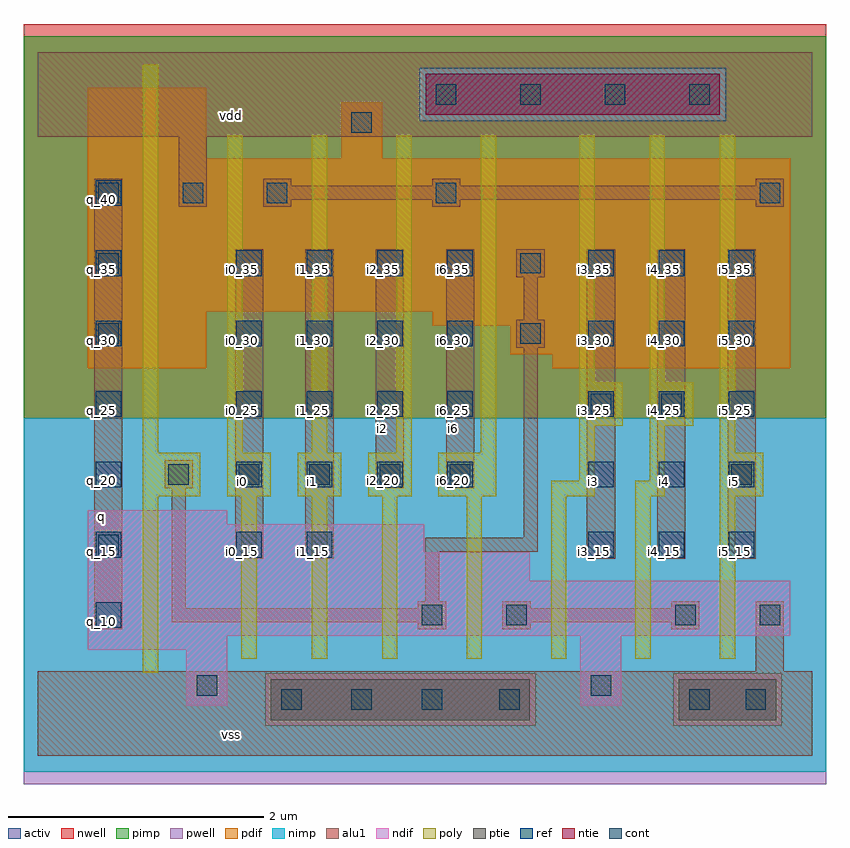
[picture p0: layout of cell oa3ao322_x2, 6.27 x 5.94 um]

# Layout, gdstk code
import gdstk
lib = gdstk.Library(unit=1e-6, precision=2.5e-09)
def R(c, l, rs):  # rectangles x0, y0, x1, y1
    for r in rs: c.add(gdstk.rectangle(r[:2], r[2:], *l))
def A(c, l, x, y, w, h, nx, ny, dx, dy):  # array of equal rectangles
    R(c, l, [(x+i*dx, y+j*dy, x+i*dx+w, y+j*dy+h) for i in range(nx) for j in range(ny)])
ndif = (3, 0)
pdif = (4, 0)
ntie = (5, 0)
ptie = (6, 0)
ref = (24, 0)
cont = (25, 0)
pwell = (41, 0)
nwell = (42, 0)
activ = (43, 0)
pimp = (44, 0)
nimp = (45, 0)
poly = (46, 0)
alu1 = (49, 0)

oa3ao322_x2 = lib.new_cell('oa3ao322_x2')
R(oa3ao322_x2, ndif, [(1.16,0.39,1.48,0.83), (1.16,0.39,1.48,0.83), (4.24,0.39,4.56,0.94), (4.24,0.39,4.56,0.94), (0.39,0.83,1.48,0.94), (0.39,0.83,1.48,0.94), (0.39,0.94,5.88,1.37), (0.39,0.94,5.88,1.37), (0.39,1.37,3.845,1.59), (0.39,1.37,3.845,1.59), (0.39,1.59,3.02,1.81), (0.39,1.59,3.02,1.81), (0.39,1.81,1.48,1.92), (0.39,1.81,1.48,1.92)])
R(oa3ao322_x2, pdif, [(0.39,3.03,1.315,3.47), (0.39,3.03,1.315,3.47), (4.02,3.03,5.88,3.14), (4.02,3.03,5.88,3.14), (3.69,3.14,5.88,3.36), (3.69,3.14,5.88,3.36), (3.085,3.36,5.88,3.47), (3.085,3.36,5.88,3.47), (0.39,3.47,5.88,4.67), (0.39,3.47,5.88,4.67), (0.39,4.67,1.315,5.22), (0.39,4.67,1.315,5.22), (2.37,4.67,2.69,5.11), (2.37,4.67,2.69,5.11)])
R(oa3ao322_x2, ntie, [(3.03,5.01,5.33,5.33), (3.03,5.01,5.33,5.33)])
R(oa3ao322_x2, ptie, [(1.82,0.28,3.845,0.6), (1.82,0.28,3.845,0.6), (5.01,0.28,5.77,0.6), (5.01,0.28,5.77,0.6)])
A(oa3ao322_x2, ref, 0.45, 1, 0.2, 0.2, 1, 7, 0, 0.55)
A(oa3ao322_x2, ref, 4.3, 1.55, 0.2, 0.2, 3, 5, 0.55, 0.55)
A(oa3ao322_x2, ref, 1.55, 2.1, 0.2, 0.2, 4, 4, 0.55, 0.55)
R(oa3ao322_x2, ref, [(1.55,1.55,1.75,1.75), (2.1,1.55,2.3,1.75)])
A(oa3ao322_x2, cont, 1.9, 0.36, 0.16, 0.16, 3, 1, 0.55, 0)
A(oa3ao322_x2, cont, 1.02, 2.12, 0.16, 0.16, 5, 1, 0.55, 0)
A(oa3ao322_x2, cont, 0.47, 4.32, 0.16, 0.16, 3, 1, 0.66, 0)
A(oa3ao322_x2, cont, 3.11, 5.09, 0.16, 0.16, 4, 1, 0.66, 0)
R(oa3ao322_x2, cont, [(3.605,0.36,3.765,0.52), (5.09,0.36,5.25,0.52), (5.53,0.36,5.69,0.52), (1.24,0.47,1.4,0.63), (4.32,0.47,4.48,0.63), (3,1.02,3.16,1.18), (3.66,1.02,3.82,1.18), (4.98,1.02,5.14,1.18), (5.64,1.02,5.8,1.18), (0.47,1.57,0.63,1.73), (5.42,2.12,5.58,2.28), (4.32,2.67,4.48,2.83), (4.87,2.67,5.03,2.83), (0.47,3.22,0.63,3.38), (3.77,3.22,3.93,3.38), (0.47,3.77,0.63,3.93), (3.77,3.77,3.93,3.93), (3.11,4.32,3.27,4.48), (5.64,4.32,5.8,4.48), (2.45,4.87,2.61,5.03)])
R(oa3ao322_x2, pwell, [(-0.11,-0.22,6.16,2.64)])
R(oa3ao322_x2, nwell, [(-0.11,2.64,6.16,5.72)])
R(oa3ao322_x2, activ, [(1.82,0.28,3.845,0.6), (1.82,0.28,3.845,0.6), (5.01,0.28,5.77,0.6), (5.01,0.28,5.77,0.6), (1.16,0.39,1.48,0.83), (1.16,0.39,1.48,0.83), (4.24,0.39,4.56,0.94), (4.24,0.39,4.56,0.94), (0.39,0.83,1.48,0.94), (0.39,0.83,1.48,0.94), (0.39,0.94,5.88,1.37), (0.39,0.94,5.88,1.37), (0.39,1.37,3.845,1.59), (0.39,1.37,3.845,1.59), (0.39,1.59,3.02,1.81), (0.39,1.59,3.02,1.81), (0.39,1.81,1.48,1.92), (0.39,1.81,1.48,1.92), (0.39,3.03,1.315,3.47), (0.39,3.03,1.315,3.47), (4.02,3.03,5.88,3.14), (4.02,3.03,5.88,3.14), (3.69,3.14,5.88,3.36), (3.69,3.14,5.88,3.36), (3.085,3.36,5.88,3.47), (3.085,3.36,5.88,3.47), (0.39,3.47,5.88,4.67), (0.39,3.47,5.88,4.67), (0.39,4.67,1.315,5.22), (0.39,4.67,1.315,5.22), (2.37,4.67,2.69,5.11), (2.37,4.67,2.69,5.11), (3.03,5.01,5.33,5.33), (3.03,5.01,5.33,5.33)])
R(oa3ao322_x2, pimp, [(1.775,0.235,3.89,0.645), (4.965,0.235,5.815,0.645), (-0.11,2.64,6.16,4.965), (-0.11,4.965,2.985,5.375), (5.375,4.965,6.16,5.375), (-0.11,5.375,6.16,5.625)])
R(oa3ao322_x2, nimp, [(-0.11,-0.125,6.16,0.235), (-0.11,0.235,1.775,0.645), (3.89,0.235,4.965,0.645), (5.815,0.235,6.16,0.645), (-0.11,0.645,6.16,2.64), (2.985,4.965,5.375,5.375)])
A(oa3ao322_x2, poly, 1.59, 0.76, 0.12, 1.27, 3, 1, 0.55, 0)
A(oa3ao322_x2, poly, 3.35, 0.76, 0.12, 1.27, 4, 1, 0.66, 0)
A(oa3ao322_x2, poly, 1.48, 2.03, 0.34, 0.34, 3, 1, 0.55, 0)
A(oa3ao322_x2, poly, 1.48, 2.37, 0.12, 2.48, 4, 1, 0.66, 0)
R(oa3ao322_x2, poly, [(0.82,0.65,0.94,2.03), (0.82,2.03,1.27,2.37), (3.13,2.03,3.58,2.37), (4.01,2.03,4.35,2.15), (4.67,2.03,4.9,2.15), (5.33,2.03,5.67,2.37), (4.23,2.15,4.35,2.58), (4.78,2.15,4.9,2.58), (0.82,2.37,0.94,5.4), (5.33,2.37,5.45,4.85), (4.23,2.58,4.57,2.92), (4.78,2.58,5.12,2.92), (4.23,2.92,4.35,4.85), (4.78,2.92,4.9,4.85)])
A(oa3ao322_x2, alu1, 4.29, 1.54, 0.22, 2.42, 3, 1, 0.55, 0)
R(oa3ao322_x2, alu1, [(0,0,6.05,0.66), (5.61,0.66,5.83,1.21), (0.44,0.99,0.66,4.51), (2.97,0.99,3.19,1.045), (3.63,0.99,3.85,1.045), (4.95,0.99,5.17,1.045), (1.045,1.045,3.19,1.155), (3.63,1.045,5.17,1.155), (1.045,1.155,1.155,2.09), (2.97,1.155,3.19,1.21), (3.63,1.155,3.85,1.21), (4.95,1.155,5.17,1.21), (3.025,1.21,3.135,1.595), (1.54,1.54,1.76,3.96), (2.09,1.54,2.31,3.96), (3.025,1.595,3.905,1.705), (3.795,1.705,3.905,3.19), (0.99,2.09,1.21,2.31), (2.64,2.09,2.86,3.96), (3.19,2.09,3.41,3.96), (3.74,3.19,3.96,3.41), (3.795,3.41,3.905,3.74), (3.74,3.74,3.96,3.96), (1.1,4.29,1.32,4.84), (1.76,4.29,1.98,4.345), (3.08,4.29,3.3,4.345), (5.61,4.29,5.83,4.345), (1.76,4.345,5.83,4.455), (1.76,4.455,1.98,4.51), (3.08,4.455,3.3,4.51), (5.61,4.455,5.83,4.51), (0,4.84,6.05,5.5)])
oa3ao322_x2.add(gdstk.Label('vss', (1.5125,0.165), layer=49, texttype=0))
oa3ao322_x2.add(gdstk.Label('i5', (5.445,2.145), layer=49, texttype=0))
oa3ao322_x2.add(gdstk.Label('i4', (4.895,2.145), layer=49, texttype=0))
oa3ao322_x2.add(gdstk.Label('i3', (4.345,2.145), layer=49, texttype=0))
oa3ao322_x2.add(gdstk.Label('i6', (3.245,2.5575), layer=49, texttype=0))
oa3ao322_x2.add(gdstk.Label('i2', (2.695,2.5575), layer=49, texttype=0))
oa3ao322_x2.add(gdstk.Label('i1', (2.145,2.145), layer=49, texttype=0))
oa3ao322_x2.add(gdstk.Label('i0', (1.595,2.145), layer=49, texttype=0))
oa3ao322_x2.add(gdstk.Label('q', (0.495,1.87), layer=49, texttype=0))
oa3ao322_x2.add(gdstk.Label('vdd', (1.5125,5.005), layer=49, texttype=0))
oa3ao322_x2.add(gdstk.Label('q_35', (0.5,3.8), layer=24, texttype=0))
oa3ao322_x2.add(gdstk.Label('q_30', (0.5,3.25), layer=24, texttype=0))
oa3ao322_x2.add(gdstk.Label('q_25', (0.5,2.7), layer=24, texttype=0))
oa3ao322_x2.add(gdstk.Label('q_20', (0.5,2.15), layer=24, texttype=0))
oa3ao322_x2.add(gdstk.Label('q_15', (0.5,1.6), layer=24, texttype=0))
oa3ao322_x2.add(gdstk.Label('q_10', (0.5,1.05), layer=24, texttype=0))
oa3ao322_x2.add(gdstk.Label('q_40', (0.5,4.35), layer=24, texttype=0))
oa3ao322_x2.add(gdstk.Label('i0_35', (1.6,3.8), layer=24, texttype=0))
oa3ao322_x2.add(gdstk.Label('i3_35', (4.35,3.8), layer=24, texttype=0))
oa3ao322_x2.add(gdstk.Label('i5_25', (5.45,2.7), layer=24, texttype=0))
oa3ao322_x2.add(gdstk.Label('i5_30', (5.45,3.25), layer=24, texttype=0))
oa3ao322_x2.add(gdstk.Label('i5_35', (5.45,3.8), layer=24, texttype=0))
oa3ao322_x2.add(gdstk.Label('i0_15', (1.6,1.6), layer=24, texttype=0))
oa3ao322_x2.add(gdstk.Label('i0_20', (1.6,2.15), layer=24, texttype=0))
oa3ao322_x2.add(gdstk.Label('i0_25', (1.6,2.7), layer=24, texttype=0))
oa3ao322_x2.add(gdstk.Label('i0_30', (1.6,3.25), layer=24, texttype=0))
oa3ao322_x2.add(gdstk.Label('i3_30', (4.35,3.25), layer=24, texttype=0))
oa3ao322_x2.add(gdstk.Label('i4_15', (4.9,1.6), layer=24, texttype=0))
oa3ao322_x2.add(gdstk.Label('i4_20', (4.9,2.15), layer=24, texttype=0))
oa3ao322_x2.add(gdstk.Label('i4_25', (4.9,2.7), layer=24, texttype=0))
oa3ao322_x2.add(gdstk.Label('i4_30', (4.9,3.25), layer=24, texttype=0))
oa3ao322_x2.add(gdstk.Label('i4_35', (4.9,3.8), layer=24, texttype=0))
oa3ao322_x2.add(gdstk.Label('i5_15', (5.45,1.6), layer=24, texttype=0))
oa3ao322_x2.add(gdstk.Label('i5_20', (5.45,2.15), layer=24, texttype=0))
oa3ao322_x2.add(gdstk.Label('i3_15', (4.35,1.6), layer=24, texttype=0))
oa3ao322_x2.add(gdstk.Label('i3_20', (4.35,2.15), layer=24, texttype=0))
oa3ao322_x2.add(gdstk.Label('i3_25', (4.35,2.7), layer=24, texttype=0))
oa3ao322_x2.add(gdstk.Label('i2_25', (2.7,2.7), layer=24, texttype=0))
oa3ao322_x2.add(gdstk.Label('i2_30', (2.7,3.25), layer=24, texttype=0))
oa3ao322_x2.add(gdstk.Label('i2_35', (2.7,3.8), layer=24, texttype=0))
oa3ao322_x2.add(gdstk.Label('i6_20', (3.25,2.15), layer=24, texttype=0))
oa3ao322_x2.add(gdstk.Label('i6_25', (3.25,2.7), layer=24, texttype=0))
oa3ao322_x2.add(gdstk.Label('i6_30', (3.25,3.25), layer=24, texttype=0))
oa3ao322_x2.add(gdstk.Label('i6_35', (3.25,3.8), layer=24, texttype=0))
oa3ao322_x2.add(gdstk.Label('i1_15', (2.15,1.6), layer=24, texttype=0))
oa3ao322_x2.add(gdstk.Label('i1_20', (2.15,2.15), layer=24, texttype=0))
oa3ao322_x2.add(gdstk.Label('i1_25', (2.15,2.7), layer=24, texttype=0))
oa3ao322_x2.add(gdstk.Label('i1_30', (2.15,3.25), layer=24, texttype=0))
oa3ao322_x2.add(gdstk.Label('i1_35', (2.15,3.8), layer=24, texttype=0))
oa3ao322_x2.add(gdstk.Label('i2_20', (2.7,2.15), layer=24, texttype=0))

lib.write_gds('oa3ao322_x2.gds')
